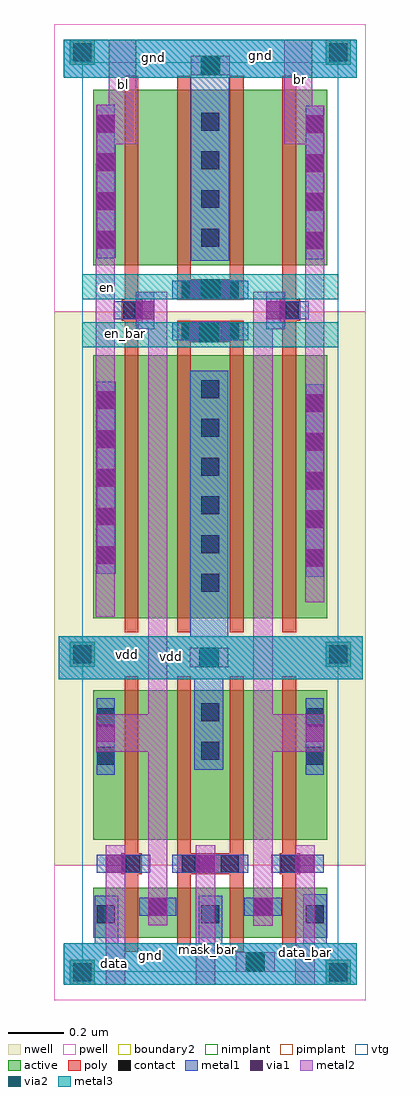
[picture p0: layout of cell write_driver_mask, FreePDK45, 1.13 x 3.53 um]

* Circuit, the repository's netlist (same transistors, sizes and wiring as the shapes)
************************************************************************
* auCdl Netlist:
* 
* Library Name:  openram
* Top Cell Name: write_driver_mask
* View Name:     schematic
* Netlisted on:  Jan 31 04:36:48 2021
************************************************************************

*.EQUATION
*.SCALE METER
*.MEGA
.PARAM



************************************************************************
* Library Name: openram
* Cell Name:    write_driver_mask
* View Name:    schematic
************************************************************************

.SUBCKT write_driver_mask bl br data data_bar en en_bar gnd mask_bar vdd
MM14 br_bar mask_bar gnd gnd NMOS_VTG W=180.0n L=50n m=1
MM13 net67 en gnd gnd NMOS_VTG W=635.00n L=50n m=1
MM7 br_bar data_bar gnd gnd NMOS_VTG W=180.0n L=50n m=1
MM6 br br_bar net67 gnd NMOS_VTG W=635.00n L=50n m=1
MM4 bl_bar mask_bar gnd gnd NMOS_VTG W=180.0n L=50n m=1
MM3 net66 en gnd gnd NMOS_VTG W=635.00n L=50n m=1
MM12 bl_bar data gnd gnd NMOS_VTG W=180.0n L=50n m=1
MM0 bl bl_bar net66 gnd NMOS_VTG W=635.00n L=50n m=1
MM15 br_bar data_bar net63 vdd PMOS_VTG W=540.0n L=50n m=1
MM10 net62 en_bar vdd vdd PMOS_VTG W=950.0n L=50n m=1
MM9 br br_bar net62 vdd PMOS_VTG W=950.0n L=50n m=1
MM8 net63 mask_bar vdd vdd PMOS_VTG W=540.0n L=50n m=1
MM5 bl_bar data net65 vdd PMOS_VTG W=540.0n L=50n m=1
MM2 net64 en_bar vdd vdd PMOS_VTG W=950.0n L=50n m=1
MM1 bl bl_bar net64 vdd PMOS_VTG W=950.0n L=50n m=1
MM11 net65 mask_bar vdd vdd PMOS_VTG W=540.0n L=50n m=1
.ENDS

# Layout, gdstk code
from math import pi, radians
import gdstk
lib = gdstk.Library(unit=1e-6, precision=5e-10)
def R(c, l, rs):  # rectangles x0, y0, x1, y1
    for r in rs: c.add(gdstk.rectangle(r[:2], r[2:], *l))
def A(c, l, x, y, w, h, nx, ny, dx, dy):  # array of equal rectangles
    R(c, l, [(x+i*dx, y+j*dy, x+i*dx+w, y+j*dy+h) for i in range(nx) for j in range(ny)])
active = (1, 0)
pwell = (2, 0)
nwell = (3, 0)
nimplant = (4, 0)
pimplant = (5, 0)
vtg = (6, 0)
poly = (9, 0)
contact = (10, 0)
metal1 = (11, 0)
via1 = (12, 0)
metal2 = (13, 0)
via2 = (14, 0)
metal3 = (15, 0)
boundary2 = (239, 0)

m1_poly_cdns_62209903356 = lib.new_cell('M1_POLY_CDNS_622099033560')
R(m1_poly_cdns_62209903356, poly, [(-0.0375,-0.1075,0.0375,0.1075)])
R(m1_poly_cdns_62209903356, contact, [(-0.0325,-0.1025,0.0325,-0.0375), (-0.0325,0.0375,0.0325,0.1025)])
R(m1_poly_cdns_62209903356, metal1, [(-0.0325,-0.1375,0.0325,0.1375)])

m2_m1_cdns_622099033561 = lib.new_cell('M2_M1_CDNS_622099033561')
R(m2_m1_cdns_622099033561, metal1, [(-0.0325,-0.0675,0.0325,0.0675)])
R(m2_m1_cdns_622099033561, via1, [(-0.0325,-0.0325,0.0325,0.0325)])
R(m2_m1_cdns_622099033561, metal2, [(-0.035,-0.0675,0.035,0.0675)])

m2_m1_cdns_622099033562 = lib.new_cell('M2_M1_CDNS_622099033562')
R(m2_m1_cdns_622099033562, metal1, [(-0.0325,-0.0675,0.0325,0.0675)])
R(m2_m1_cdns_622099033562, via1, [(-0.0325,-0.0325,0.0325,0.0325)])
R(m2_m1_cdns_622099033562, metal2, [(-0.0675,-0.035,0.0675,0.035)])

c_m1_poly_cdns_62209903356 = lib.new_cell('M1_POLY_CDNS_622099033563')
R(c_m1_poly_cdns_62209903356, poly, [(-0.0375,-0.0375,0.0375,0.0375)])
R(c_m1_poly_cdns_62209903356, contact, [(-0.0325,-0.0325,0.0325,0.0325)])
R(c_m1_poly_cdns_62209903356, metal1, [(-0.0325,-0.0675,0.0325,0.0675)])

m1_p_cdns_622099033564 = lib.new_cell('M1_P_CDNS_622099033564')
R(m1_p_cdns_622099033564, active, [(-0.045,-0.1075,0.045,0.1075)])
R(m1_p_cdns_622099033564, pimplant, [(-0.045,-0.1075,0.045,0.1075)])
R(m1_p_cdns_622099033564, contact, [(-0.0325,-0.1025,0.0325,-0.0375), (-0.0325,0.0375,0.0325,0.1025)])
R(m1_p_cdns_622099033564, metal1, [(-0.0325,-0.1375,0.0325,0.1375)])

m1_p_cdns_622099033565 = lib.new_cell('M1_P_CDNS_622099033565')
R(m1_p_cdns_622099033565, active, [(-0.045,-0.3875,0.045,0.3875)])
R(m1_p_cdns_622099033565, pimplant, [(-0.045,-0.3875,0.045,0.3875)])
A(m1_p_cdns_622099033565, contact, -0.0325, -0.3825, 0.065, 0.065, 1, 6, 0, 0.14)
R(m1_p_cdns_622099033565, metal1, [(-0.0325,-0.4175,0.0325,0.4175)])

m1_n_cdns_622099033566 = lib.new_cell('M1_N_CDNS_622099033566')
R(m1_n_cdns_622099033566, active, [(-0.045,-0.2475,0.045,0.2475)])
R(m1_n_cdns_622099033566, nimplant, [(-0.045,-0.2475,0.045,0.2475)])
A(m1_n_cdns_622099033566, contact, -0.0325, -0.2425, 0.065, 0.065, 1, 4, 0, 0.14)
R(m1_n_cdns_622099033566, metal1, [(-0.0325,-0.2775,0.0325,0.2775)])

m3_m2_cdns_622099033567 = lib.new_cell('M3_M2_CDNS_622099033567')
R(m3_m2_cdns_622099033567, metal2, [(-0.035,-0.07,0.035,0.07)])
R(m3_m2_cdns_622099033567, via2, [(-0.035,-0.035,0.035,0.035)])
R(m3_m2_cdns_622099033567, metal3, [(-0.035,-0.07,0.035,0.07)])

m2_m1_via = lib.new_cell('M2_M1_via')
R(m2_m1_via, metal1, [(-0.0675,-0.0325,0.0675,0.0325)])
R(m2_m1_via, via1, [(-0.0325,-0.0325,0.0325,0.0325)])
R(m2_m1_via, metal2, [(-0.035,-0.0675,0.035,0.0675)])

m1_p_cdns_622099033568 = lib.new_cell('M1_P_CDNS_622099033568')
R(m1_p_cdns_622099033568, active, [(-0.045,-0.3175,0.045,0.3175)])
R(m1_p_cdns_622099033568, pimplant, [(-0.045,-0.3175,0.045,0.3175)])
A(m1_p_cdns_622099033568, contact, -0.0325, -0.3125, 0.065, 0.065, 1, 5, 0, 0.14)
R(m1_p_cdns_622099033568, metal1, [(-0.0325,-0.3475,0.0325,0.3475)])

m2_m1_cdns_622099033569 = lib.new_cell('M2_M1_CDNS_622099033569')
R(m2_m1_cdns_622099033569, metal1, [(-0.0325,-0.3475,0.0325,0.3475)])
A(m2_m1_cdns_622099033569, via1, -0.0325, -0.3125, 0.065, 0.065, 1, 5, 0, 0.14)
R(m2_m1_cdns_622099033569, metal2, [(-0.035,-0.3475,0.035,0.3475)])

m2_m1_cdns_6220990335610 = lib.new_cell('M2_M1_CDNS_6220990335610')
R(m2_m1_cdns_6220990335610, metal1, [(-0.0325,-0.2775,0.0325,0.2775)])
A(m2_m1_cdns_6220990335610, via1, -0.0325, -0.2425, 0.065, 0.065, 1, 4, 0, 0.14)
R(m2_m1_cdns_6220990335610, metal2, [(-0.035,-0.2775,0.035,0.2775)])

write_driver_mask = lib.new_cell('write_driver_mask')
A(write_driver_mask, active, 0.04, 0.21, 0.09, 0.09, 3, 1, 0.3775, 0)
R(write_driver_mask, active, [(-0.045,0,0.045,0.09), (0.88,0,0.97,0.09), (0.04,0.17,0.885,0.35), (0.2275,0.2375,0.3175,0.3275), (0.6075,0.2375,0.6975,0.3275), (0.04,0.525,0.885,1.065), (-0.045,1.15,0.045,1.24), (0.88,1.15,0.97,1.24), (0.04,1.325,0.885,2.275), (0.04,2.6,0.885,3.235), (-0.045,3.325,0.045,3.415), (0.88,3.325,0.97,3.415)])
R(write_driver_mask, pwell, [(-0.1025,-0.055,1.025,0.4325), (-0.1025,2.4325,1.025,3.4725)])
R(write_driver_mask, nwell, [(-0.1025,0.4325,1.025,2.4325)])
R(write_driver_mask, nimplant, [(0.04,0.17,0.885,0.35), (-0.045,1.15,0.045,1.24), (0.88,1.15,0.97,1.24), (0.04,2.6,0.885,3.235)])
R(write_driver_mask, pimplant, [(-0.045,0,0.045,0.09), (0.88,0,0.97,0.09), (0.04,0.525,0.885,1.065), (0.04,1.325,0.885,2.275), (-0.045,3.325,0.045,3.415), (0.88,3.325,0.97,3.415)])
R(write_driver_mask, vtg, [(0,0.0475,0.925,3.335)])
A(write_driver_mask, poly, 0.1525, 0.12, 0.05, 0.995, 4, 1, 0.19, 0)
R(write_driver_mask, poly, [(0.1525,1.275,0.2025,3.285), (0.3425,1.275,0.3925,2.4), (0.5325,1.275,0.5825,2.4), (0.7225,1.275,0.7725,3.285), (0.3425,2.475,0.3925,3.285), (0.5325,2.475,0.5825,3.285)])
A(write_driver_mask, contact, 0.0525, 0.2225, 0.065, 0.065, 3, 1, 0.3775, 0)
R(write_driver_mask, contact, [(-0.0325,0.0125,0.0325,0.0775), (0.8925,0.0125,0.9575,0.0775), (0.24,0.25,0.305,0.315), (0.62,0.25,0.685,0.315), (-0.0325,1.1625,0.0325,1.2275), (0.8925,1.1625,0.9575,1.2275), (-0.0325,3.3375,0.0325,3.4025), (0.8925,3.3375,0.9575,3.4025)])
R(write_driver_mask, metal1, [(-0.0675,0,0.9925,0.15), (0.045,0.075,0.13,0.3225), (0.42,0.075,0.505,0.3225), (0.7975,0.075,0.8825,0.3275), (0.0525,0.1875,0.1175,0.3225), (0.43,0.1875,0.495,0.3225), (0.8075,0.2275,0.8725,0.3), (0.585,0.25,0.72,0.315), (0.405,0.7775,0.51,1.175), (-0.085,1.105,1.0125,1.26), (0.39,1.2075,0.5275,2.22), (0.3925,2.6175,0.53,3.39), (-0.0675,3.2775,0.9925,3.415)])
R(write_driver_mask, metal2, [(0.085,0,0.155,0.47), (0.41,0,0.48,0.505), (0.77,0,0.84,0.4725), (0.6175,0.2125,0.6875,2.505), (0.2375,0.275,0.3075,2.505), (0.0525,0.8425,0.285,0.9775), (0.6425,0.8425,0.875,0.9775), (0.0475,1.33,0.1175,2.9675), (0.805,1.3825,0.875,3.085), (0.095,3.0375,0.195,3.415), (0.73,3.0375,0.83,3.415)])
R(write_driver_mask, metal3, [(-0.0675,0,0.9925,0.15), (-0.085,1.105,1.0125,1.26), (0,2.305,0.925,2.395), (0,2.4775,0.925,2.5675), (-0.0675,3.2775,0.9925,3.415)])
R(write_driver_mask, boundary2, [(0,0,0.925,3.415)])
write_driver_mask.add(gdstk.Reference(m1_poly_cdns_62209903356, (0.4625,2.5125), rotation=pi/2))
write_driver_mask.add(gdstk.Reference(m1_poly_cdns_62209903356, (0.4625,2.3625), rotation=pi/2))
write_driver_mask.add(gdstk.Reference(m1_poly_cdns_62209903356, (0.4625,0.4375), rotation=pi/2))
write_driver_mask.add(gdstk.Reference(m2_m1_cdns_622099033561, (0.4625,3.3225), rotation=pi/2))
write_driver_mask.add(gdstk.Reference(m2_m1_cdns_622099033561, (0.6975,2.4375)))
write_driver_mask.add(gdstk.Reference(m2_m1_cdns_622099033561, (0.2275,2.4375)))
write_driver_mask.add(gdstk.Reference(m2_m1_cdns_622099033561, (0.465,2.5125), rotation=pi/2))
write_driver_mask.add(gdstk.Reference(m2_m1_cdns_622099033561, (0.4625,2.3625), rotation=pi/2))
write_driver_mask.add(gdstk.Reference(m2_m1_cdns_622099033561, (0.6275,0.0825), rotation=pi/2))
write_driver_mask.add(gdstk.Reference(m2_m1_cdns_622099033561, (0.085,0.91)))
write_driver_mask.add(gdstk.Reference(m2_m1_cdns_622099033561, (0.84,0.91)))
write_driver_mask.add(gdstk.Reference(m2_m1_cdns_622099033562, (0.445,0.4375), rotation=pi/2))
write_driver_mask.add(gdstk.Reference(m2_m1_cdns_622099033562, (0.805,0.4375), rotation=pi/2))
write_driver_mask.add(gdstk.Reference(m2_m1_cdns_622099033562, (0.12,0.4375), rotation=pi/2))
write_driver_mask.add(gdstk.Reference(c_m1_poly_cdns_62209903356, (0.18,2.4375), rotation=pi/2))
write_driver_mask.add(gdstk.Reference(c_m1_poly_cdns_62209903356, (0.75,2.4375), rotation=pi/2))
write_driver_mask.add(gdstk.Reference(c_m1_poly_cdns_62209903356, (0.75,0.4375), rotation=pi/2))
write_driver_mask.add(gdstk.Reference(c_m1_poly_cdns_62209903356, (0.1775,0.4375), rotation=pi/2))
write_driver_mask.add(gdstk.Reference(m1_p_cdns_622099033564, (0.84,0.8975)))
write_driver_mask.add(gdstk.Reference(m1_p_cdns_622099033564, (0.4625,0.915)))
write_driver_mask.add(gdstk.Reference(m1_p_cdns_622099033564, (0.085,0.8975)))
write_driver_mask.add(gdstk.Reference(m1_p_cdns_622099033565, (0.4625,1.8025)))
write_driver_mask.add(gdstk.Reference(m1_n_cdns_622099033566, (0.84,2.9)))
write_driver_mask.add(gdstk.Reference(m1_n_cdns_622099033566, (0.085,2.9025)))
write_driver_mask.add(gdstk.Reference(m1_n_cdns_622099033566, (0.4625,2.91)))
write_driver_mask.add(gdstk.Reference(m3_m2_cdns_622099033567, (0.4625,3.3225), rotation=pi/2))
write_driver_mask.add(gdstk.Reference(m3_m2_cdns_622099033567, (0.4575,1.1825), rotation=pi/2))
write_driver_mask.add(gdstk.Reference(m3_m2_cdns_622099033567, (0.4575,2.3575), rotation=pi/2))
write_driver_mask.add(gdstk.Reference(m3_m2_cdns_622099033567, (0.4625,2.5125), rotation=pi/2))
write_driver_mask.add(gdstk.Reference(m3_m2_cdns_622099033567, (0.625,0.0825), rotation=pi/2))
write_driver_mask.add(gdstk.Reference(m2_m1_via, (0.6525,0.2825)))
write_driver_mask.add(gdstk.Reference(m2_m1_via, (0.2725,0.2825)))
write_driver_mask.add(gdstk.Reference(m1_p_cdns_622099033568, (0.84,1.8225)))
write_driver_mask.add(gdstk.Reference(m1_p_cdns_622099033568, (0.085,1.8325)))
write_driver_mask.add(gdstk.Reference(m2_m1_cdns_622099033569, (0.84,1.8225)))
write_driver_mask.add(gdstk.Reference(m2_m1_cdns_622099033569, (0.085,1.8325)))
write_driver_mask.add(gdstk.Reference(m2_m1_cdns_6220990335610, (0.84,2.9)))
write_driver_mask.add(gdstk.Reference(m2_m1_cdns_6220990335610, (0.085,2.9025)))
write_driver_mask.add(gdstk.Label('gnd', (0.245,0.105), layer=11, texttype=0))
write_driver_mask.add(gdstk.Label('gnd', (0.2575,3.3525), layer=11, texttype=0))
write_driver_mask.add(gdstk.Label('vdd', (0.1625,1.1925), layer=11, texttype=0))
write_driver_mask.add(gdstk.Label('br', (0.7875,3.2725), layer=13, texttype=0))
write_driver_mask.add(gdstk.Label('bl', (0.1475,3.255), layer=13, texttype=0))
write_driver_mask.add(gdstk.Label('mask_bar', (0.4525,0.1275), layer=13, texttype=0))
write_driver_mask.add(gdstk.Label('data_bar', (0.8075,0.1175), layer=13, texttype=0))
write_driver_mask.add(gdstk.Label('data', (0.1175,0.0775), layer=13, texttype=0))
write_driver_mask.add(gdstk.Label('gnd', (0.395,0.08), layer=15, texttype=0))
write_driver_mask.add(gdstk.Label('gnd', (0.6425,3.36), layer=15, texttype=0))
write_driver_mask.add(gdstk.Label('vdd', (0.3225,1.1875), layer=15, texttype=0))
write_driver_mask.add(gdstk.Label('en_bar', (0.155,2.355), layer=15, texttype=0))
write_driver_mask.add(gdstk.Label('en', (0.09,2.52), layer=15, texttype=0))

lib.write_gds('write_driver_mask.gds')
